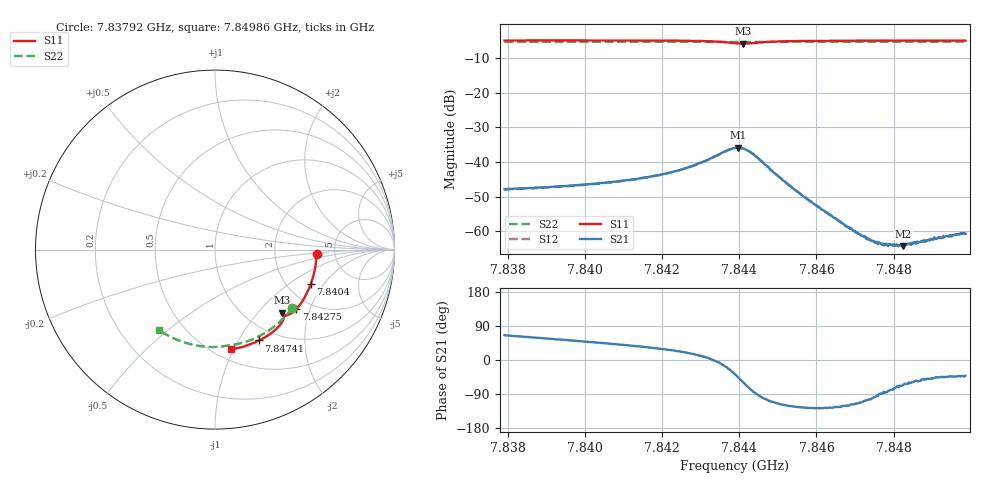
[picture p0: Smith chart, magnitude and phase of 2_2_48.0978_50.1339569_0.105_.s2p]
#  HZ  S  RI  R  50.00
! Rohde & Schwarz Vector Network Analyzer
! Rohde-Schwarz,ZNB20-2Port,1311601062101988,3.16
! Created: UTC 12/23/2023, 3:34:45 AM
! freq[Hz]  re:S11  im:S11  re:S21  im:S21  re:S12  im:S12  re:S22  im:S22
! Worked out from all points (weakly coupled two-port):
!   401 points, 7.83792 GHz to 7.84986 GHz, reference 50 ohm
!   highest |S21| = -35.81 dB at 7.84398 GHz (marker M1); lowest = -64.2 dB at 7.84825 GHz (marker M2)
!   lowest |S11| = -5.8 dB at 7.8441 GHz (marker M3), VSWR 3.09, Z = 71.2 - j67.8 ohm
!   |S11| at or under -10 dB: nowhere
!   |S22| runs from -5.4 to -5.3 dB; largest |S21 - S12| = 0.00031
!   S11 on the Smith chart (normalised r, x): 7.83792 GHz: 3.59, -0.28; 7.8404 GHz: 2.69, -1.50; 7.84275 GHz: 1.67, -1.62; 7.84741 GHz: 0.83, -1.23; 7.84986 GHz: 0.60, -0.98
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7.837919e9  0.5662 -0.0266  0.00168 0.0037  0.0017 0.00366  0.4316 -0.3244
7.839919e9  0.5447 -0.1583  0.00308 0.00358  0.00302 0.00353  0.3343 -0.425
7.840397e9  0.5346 -0.189  0.00349 0.00352  0.00342 0.00348  0.3076 -0.4451
7.841143e9  0.5152 -0.2361  0.00432 0.00342  0.00429 0.00341  0.2632 -0.4731
7.841919e9  0.4891 -0.2837  0.00564 0.00326  0.00558 0.00326  0.2142 -0.4973
7.842755e9  0.4518 -0.3329  0.00828 0.00255  0.00826 0.00255  0.1592 -0.5175
7.843442e9  0.4054 -0.3647  0.0125 -0.00138  0.0124 -0.00116  0.1119 -0.5287
7.843889e9  0.3725 -0.3602  0.0126 -0.00977  0.0126 -0.00965  0.082 -0.5327
7.843979e9  0.3703 -0.3559  0.0111 -0.0118  0.0111 -0.0115  0.0764 -0.5334
7.844098e9  0.3715 -0.3513  0.00806 -0.0135  0.00821 -0.0135  0.0691 -0.5344
7.844397e9  0.3829 -0.3564  0.000821 -0.0125  0.000888 -0.0125  0.0501 -0.5379
7.845083e9  0.3735 -0.405  -0.00263 -0.00512  -0.00262 -0.00518  0.0021 -0.5428
7.84589e9  0.3337 -0.4492  -0.00155 -0.0021  -0.00156 -0.00207  -0.0548 -0.541
7.846696e9  0.2882 -0.4825  -0.000669 -0.0011  -0.000669 -0.00106  -0.111 -0.5329
7.847412e9  0.2454 -0.5064  -0.000174 -0.000708  -0.00016 -0.000747  -0.1599 -0.5207
7.847711e9  0.2271 -0.5151  1.72e-05 -0.000655  -1.07e-05 -0.000671  -0.1799 -0.5144
7.84789e9  0.216 -0.52  0.00011 -0.00065  9.13e-05 -0.000638  -0.1918 -0.5101
7.848039e9  0.2067 -0.5237  0.000174 -0.000593  0.000161 -0.000605  -0.2016 -0.5064
7.848248e9  0.1935 -0.5288  0.000253 -0.000564  0.000241 -0.000617  -0.2152 -0.5011
7.848696e9  0.1652 -0.5384  0.000402 -0.000585  0.000434 -0.00055  -0.2439 -0.488
7.849621e9  0.1052 -0.5529  0.000662 -0.000629  0.000644 -0.000643  -0.3003 -0.4561
7.84986e9  0.0894 -0.5558  0.000689 -0.000611  0.000698 -0.00062  -0.3142 -0.4467
